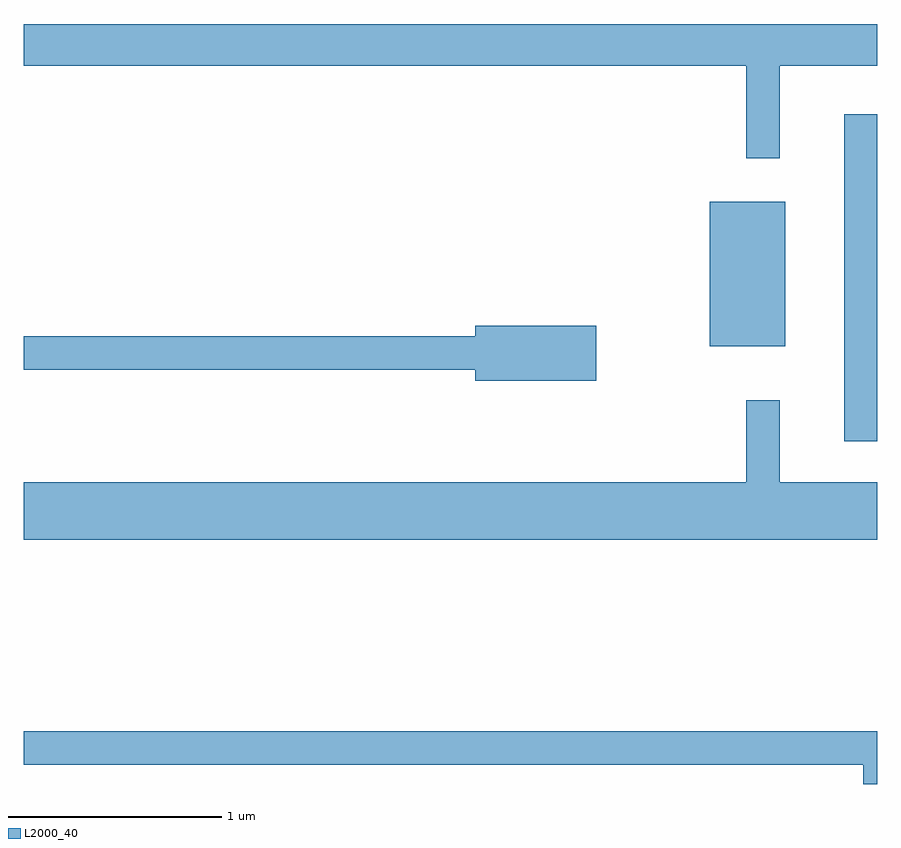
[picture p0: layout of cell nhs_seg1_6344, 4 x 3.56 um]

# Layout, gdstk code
import gdstk
lib = gdstk.Library(unit=1e-6, precision=1e-09)
def R(c, l, rs):  # rectangles x0, y0, x1, y1
    for r in rs: c.add(gdstk.rectangle(r[:2], r[2:], *l))
def P(c, l, *ps):  # polygons
    for p in ps: c.add(gdstk.Polygon(p, *l))
L2000_40 = (2000, 40)

nhs_seg1_6344 = lib.new_cell('nhs_seg1_6344')
R(nhs_seg1_6344, L2000_40, [(379.456,957.758,379.611,959.289), (378.826,958.201,379.179,958.879)])
P(nhs_seg1_6344, L2000_40, [(375.611,959.516),(378.996,959.516),(378.996,959.083),(379.154,959.083),(379.154,959.516),(379.611,959.516),(379.611,959.712),(375.611,959.712)],
  [(378.294,958.299),(377.726,958.299),(377.726,958.249),(375.611,958.249),(375.611,958.091),(377.726,958.091),(377.726,958.041),(378.294,958.041)],
  [(379.611,957.564),(379.154,957.564),(379.154,957.948),(378.996,957.948),(378.996,957.564),(375.611,957.564),(375.611,957.296),(379.611,957.296)],
  [(379.611,956.399),(375.611,956.399),(375.611,956.241),(379.546,956.241),(379.546,956.151),(379.611,956.151)])

lib.write_gds('nhs_seg1_6344.gds')
